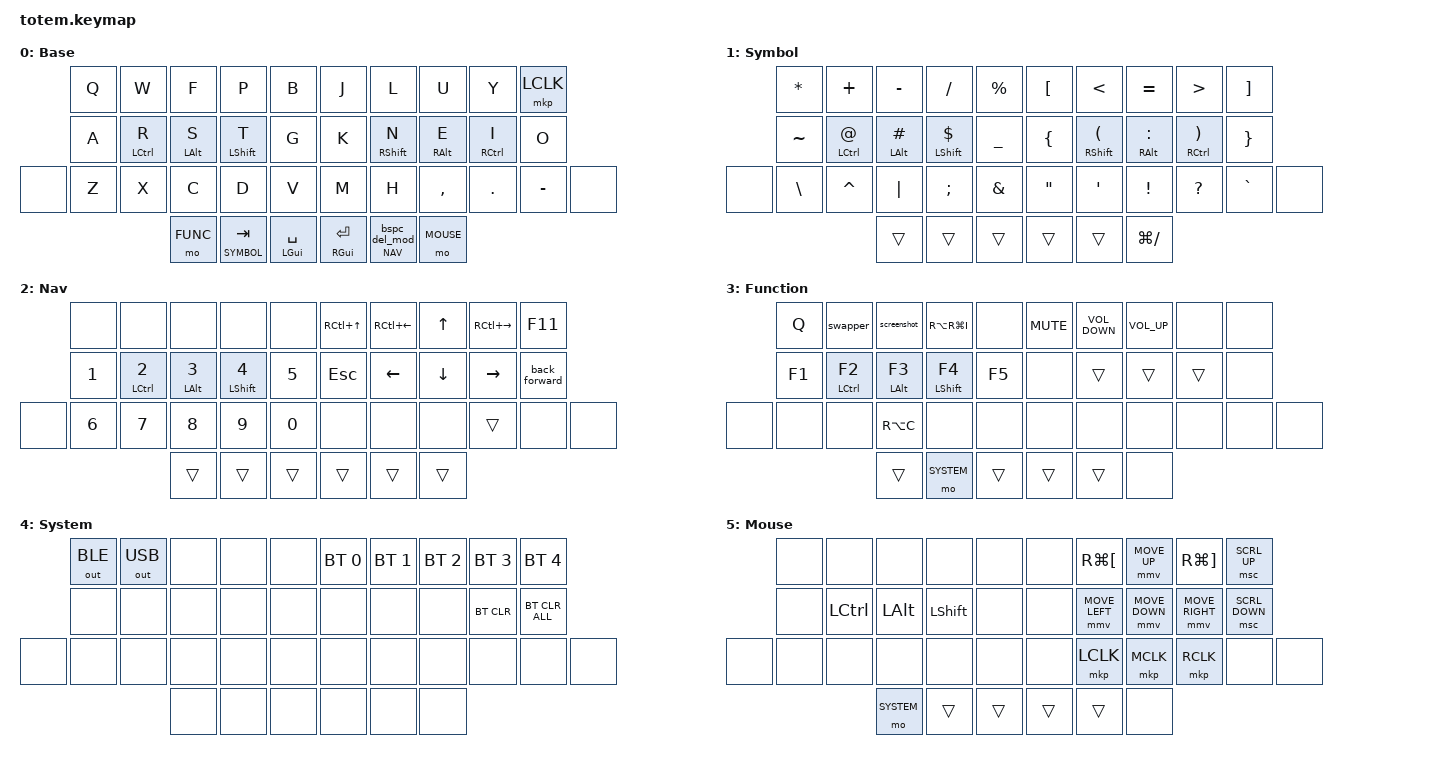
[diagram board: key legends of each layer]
//
//                                                        ▀▀▀▀▀     ▀▀▀▀▀          ▀▀█▀▀
//                                                        ▄▀▀▀▄  ▄  ▄▀▀▀▄  ▄  ▄▀▀▀▄  █  ▄▀▀▀▄
//                                                        █   █  █  █   █  █  █   █  █  █   █
//                                                         ▀▀▀   █   ▀▀▀   █   ▀▀▀   ▀   ▀▀▀
//                                                               █      ▄▄▄█▄▄▄    █   █  
//                                                               ▀      █  █  █     █▄█
//                                                             ▀▀▀▀▀    █  █  █      ▀
//                                                                      ▀  ▀  ▀
//
// ▄▄▄▄▄▄▄▄▄▄▄▄▄▄▄▄▄▄▄▄▄▄▄▄▄▄▄▄▄▄▄▄▄▄▄▄▄▄▄▄▄▄▄▄▄▄▄▄▄▄▄▄▄▄▄▄▄▄▄▄▄▄▄▄▄▄▄▄▄▄▄▄▄▄▄▄▄▄▄▄▄▄▄▄▄▄▄▄▄▄▄▄▄▄▄▄▄▄▄▄▄▄▄▄▄▄▄▄▄▄▄▄▄▄▄▄▄▄▄▄▄▄▄▄▄▄▄▄▄▄▄▄▄▄▄▄▄▄▄▄▄▄▄▄▄▄▄▄▄

#include <behaviors.dtsi>
#include <dt-bindings/zmk/bt.h>
#include <dt-bindings/zmk/keys.h>
#include <dt-bindings/zmk/outputs.h>
#include <dt-bindings/zmk/pointing.h>

#define BASE    0
#define SYMBOL  1
#define NAV     2
#define FUNC    3
#define SYSTEM  4
#define MOUSE   5

&mt { tapping-term-ms = <175>; };

&mmv {
    acceleration-exponent = <2>;      // 1
    time-to-max-speed-ms = <500>;     // 300
    delay-ms = <0>;                   // 0
};

&msc {
    acceleration-exponent = <1>;      // 0
    time-to-max-speed-ms = <500>;     // 300
    delay-ms = <0>;                   // 0
};

/ {
    combos {
        compatible = "zmk,combos";

        eisu {
            bindings = <&kp LANG2>;
            key-positions = <22 23>;
            layers = <0>;
        };

        kana {
            bindings = <&kp LANG1>;
            key-positions = <28 29>;
            layers = <0>;
        };

        caps_word {
            bindings = <&caps_word>;
            key-positions = <13 16>;
            layers = <0>;
        };

        combo_studio_unlock {
            bindings = <&studio_unlock>;
            key-positions = <21 22 23 24>;
            layers = <0>;
        };

        right_click {
            bindings = <&mkp RCLK>;
            key-positions = <8 9>;
            layers = <0>;
        };

        middle_click {
            bindings = <&mkp MCLK>;
            key-positions = <7 9>;
            layers = <0>;
        };
    };

    behaviors {
        hml: home_row_mod_left {
            compatible = "zmk,behavior-hold-tap";
            label = "home_row_mod_left";
            bindings = <&kp>, <&kp>;

            #binding-cells = <2>;
            tapping-term-ms = <280>;
            flavor = "balanced";
            require-prior-idle-ms = <150>;
            quick-tap-ms = <175>;
            hold-trigger-on-release;
            hold-trigger-key-positions = <5 6 7 8 9 15 16 17 18 19 26 27 28 29 30 31 32 33 34 35 36 37>;
        };

        hmr: home_row_mod_right {
            compatible = "zmk,behavior-hold-tap";
            label = "home_row_mod_right";
            bindings = <&kp>, <&kp>;

            #binding-cells = <2>;
            tapping-term-ms = <280>;
            flavor = "balanced";
            require-prior-idle-ms = <150>;
            quick-tap-ms = <175>;
            hold-trigger-on-release;
            hold-trigger-key-positions = <0 1 2 3 4 10 11 12 13 14 22 23 24 25 21 20 32 33 34 35 36 37>;
        };

        bspc_del_layer: backspace_delete_layer {
            compatible = "zmk,behavior-hold-tap";
            label = "BSPC_DEL_LAYER";
            #binding-cells = <2>;
            tapping-term-ms = <150>;
            quick-tap-ms = <225>;
            require-prior-idle-ms = <50>;
            flavor = "balanced";
            bindings = <&mo>, <&bspc_del_mod>;
        };

        bspc_del_mod: backspace_delete_mod {
            compatible = "zmk,behavior-mod-morph";
            label = "BSPC_DEL_MOD";
            #binding-cells = <0>;
            bindings = <&kp BACKSPACE>, <&kp DELETE>;

            mods = <(MOD_LSFT|MOD_RSFT)>;
        };

        win_center_or_maximize: win_center_or_maximize {
            compatible = "zmk,behavior-mod-morph";
            label = "WIN_CENTER_OR_MAXIMIZE";
            bindings = <&kp RA(RC(C))>, <&kp RA(RC(ENTER))>;

            #binding-cells = <0>;
            mods = <(MOD_LSFT|MOD_RSFT)>;
        };

        // 1 tap: area, 2 taps: capture panel, 3 taps: area to the clipboard.
        screenshot: screenshot {
            compatible = "zmk,behavior-tap-dance";
            label = "SCREENSHOT";
            #binding-cells = <0>;
            tapping-term-ms = <200>;
            bindings = <&kp RS(RG(NUMBER_4))>, <&kp RS(RG(NUMBER_5))>, <&kp RC(RS(RG(NUMBER_4)))>;
        };

        // 1 tap: back (Cmd+[), 2 taps: forward (Cmd+]).
        back_forward: back_forward {
            compatible = "zmk,behavior-tap-dance";
            label = "BACK_FORWARD";
            #binding-cells = <0>;
            tapping-term-ms = <200>;
            bindings = <&kp LG(LEFT_BRACKET)>, <&kp LG(RIGHT_BRACKET)>;
        };

        lhp: layer_hold_prefered {
            compatible = "zmk,behavior-hold-tap";
            #binding-cells = <2>;
            tapping-term-ms = <150>;
            flavor = "hold-preferred";
            bindings = <&mo>, <&kp>;
        };

        swapper: swapper {
            compatible = "zmk,behavior-tri-state";
            #binding-cells = <0>;
            bindings = <&kt LGUI>, <&kp TAB>, <&kt LGUI>;

            ignored-key-positions = <0 7 13 16 17 18 36>;
        };
    };

    keymap {
        compatible = "zmk,keymap";

        Base {
            bindings = <
       &kp Q  &kp W         &kp F            &kp P              &kp B                 &kp J                &kp L                  &kp U             &kp Y         &mkp LCLK
       &kp A  &hml LCTRL R  &hml LEFT_ALT S  &hml LEFT_SHIFT T  &kp G                 &kp K                &hmr RIGHT_SHIFT N     &hmr RIGHT_ALT E  &hmr RCTRL I  &kp O
&none  &kp Z  &kp X         &kp C            &kp D              &kp V                 &kp M                &kp H                  &kp COMMA         &kp DOT       &kp MINUS  &none
                            &mo FUNC         &lhp SYMBOL TAB    &mt LEFT_GUI SPACE    &mt RIGHT_GUI ENTER  &bspc_del_layer NAV 0  &mo MOUSE
            >;
        };

        Symbol {
            bindings = <
       &kp ASTERISK   &kp PLUS                   &kp MINUS           &kp SLASH               &kp PERCENT       &kp LEFT_BRACKET   &kp LESS_THAN                      &kp EQUAL             &kp GREATER_THAN                      &kp RIGHT_BRACKET
       &kp TILDE      &hml LEFT_CONTROL AT_SIGN  &hml LEFT_ALT HASH  &hml LEFT_SHIFT DOLLAR  &kp UNDERSCORE    &kp LEFT_BRACE     &hmr RIGHT_SHIFT LEFT_PARENTHESIS  &hmr RIGHT_ALT COLON  &hmr RIGHT_CONTROL RIGHT_PARENTHESIS  &kp RIGHT_BRACE
&none  &kp BACKSLASH  &kp CARET                  &kp PIPE            &kp SEMICOLON           &kp AMPERSAND     &kp DOUBLE_QUOTES  &kp SINGLE_QUOTE                   &kp EXCLAMATION       &kp QUESTION                          &kp GRAVE          &none
                                                 &trans              &trans                  &trans            &trans             &trans                             &kp LG(SLASH)
            >;
        };

        Nav {
            bindings = <
       &none   &none                       &none                   &none                     &none     &kp RC(UP)  &kp RC(LEFT)    &kp UP_ARROW    &kp RC(RIGHT)    &kp F11
       &kp N1  &hml LEFT_CONTROL NUMBER_2  &hml LEFT_ALT NUMBER_3  &hml LEFT_SHIFT NUMBER_4  &kp N5    &kp ESCAPE  &kp LEFT_ARROW  &kp DOWN_ARROW  &kp RIGHT_ARROW  &back_forward
&none  &kp N6  &kp N7                      &kp N8                  &kp N9                    &kp N0    &none       &none           &none           &trans           &none    &none
                                           &trans                  &trans                    &trans    &trans      &trans          &trans
            >;
        };

        Function {
            bindings = <
       &kp Q   &swapper       &screenshot   &kp RA(RG(I))  &none     &kp C_MUTE  &kp C_VOLUME_DOWN  &kp C_VOLUME_UP  &none   &none
       &kp F1  &hml LCTRL F2  &hml LALT F3  &hml LSHFT F4  &kp F5    &none       &trans             &trans           &trans  &none
&none  &none   &none          &kp RA(C)     &none          &none     &none   &none   &none       &none  &none  &none
                              &trans        &mo SYSTEM     &trans    &trans  &trans  &none
            >;
        };

        System {
            bindings = <
       &out OUT_BLE  &out OUT_USB  &none  &none  &none    &bt BT_SEL 0  &bt BT_SEL 1  &bt BT_SEL 2  &bt BT_SEL 3  &bt BT_SEL 4
       &none         &none         &none  &none  &none    &none         &none         &none         &bt BT_CLR    &bt BT_CLR_ALL
&none  &none         &none         &none  &none  &none    &none         &none         &none         &none         &none          &none
                                   &none  &none  &none    &none         &none         &none
            >;
        };

        Mouse {
            bindings = <
       &none  &none             &none         &none           &none     &none   &kp RG(LEFT_BRACKET)  &mmv MOVE_UP    &kp RG(RIGHT_BRACKET)  &msc SCRL_UP
       &none  &kp LEFT_CONTROL  &kp LEFT_ALT  &kp LEFT_SHIFT  &none     &none   &mmv MOVE_LEFT        &mmv MOVE_DOWN  &mmv MOVE_RIGHT        &msc SCRL_DOWN
&none  &none  &none             &none         &none           &none     &none   &mkp LCLK             &mkp MCLK       &mkp RCLK              &none           &none
                                &mo SYSTEM    &trans          &trans    &trans  &trans                &none
            >;
        };
    };
};
